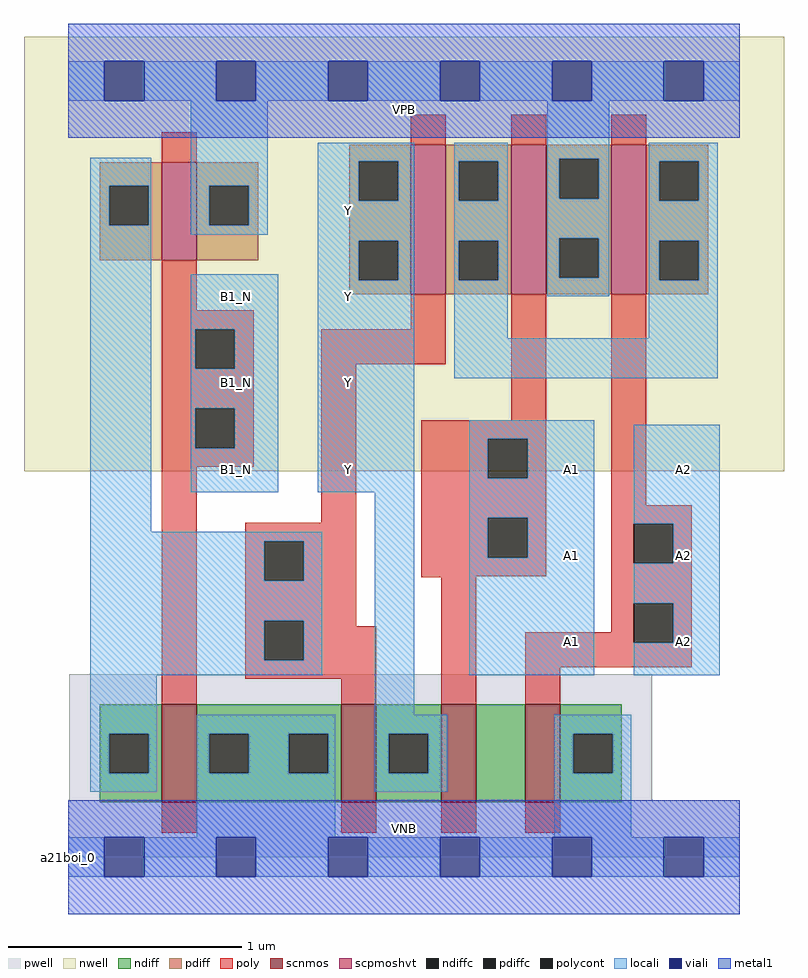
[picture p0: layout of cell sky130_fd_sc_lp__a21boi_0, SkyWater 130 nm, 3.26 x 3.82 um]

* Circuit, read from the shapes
.subckt sky130_fd_sc_lp__a21boi_0 A1 A2 B1_N VGND VNB VPB VPWR Y
XM1 VGND B1_N n1 VNB sky130_fd_pr__nfet_01v8 w=0.42 l=0.15
XM2 Y n1 VGND VNB sky130_fd_pr__nfet_01v8 w=0.42 l=0.15
XM3 n2 A1 Y VNB sky130_fd_pr__nfet_01v8 w=0.42 l=0.15
XM4 VGND A2 n2 VNB sky130_fd_pr__nfet_01v8 w=0.42 l=0.15
XM5 VPWR B1_N n1 VPB sky130_fd_pr__pfet_01v8_hvt w=0.42 l=0.15
XM6 n3 n1 Y VPB sky130_fd_pr__pfet_01v8_hvt w=0.64 l=0.15
XM7 VPWR A1 n3 VPB sky130_fd_pr__pfet_01v8_hvt w=0.64 l=0.15
XM8 n3 A2 VPWR VPB sky130_fd_pr__pfet_01v8_hvt w=0.64 l=0.15
.ends

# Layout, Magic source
magic
tech sky130A
magscale 1 2
<< nwell >>
rect -38 331 614 704
<< pwell >>
rect 1 49 501 157
rect 0 0 576 49
<< scnmos >>
rect 80 47 110 131
rect 234 47 264 131
rect 320 47 350 131
rect 392 47 422 131
<< scpmoshvt >>
rect 80 512 110 596
rect 294 483 324 611
rect 380 483 410 611
rect 466 483 496 611
<< ndiff >>
rect 27 106 80 131
rect 27 72 35 106
rect 69 72 80 106
rect 27 47 80 72
rect 110 106 234 131
rect 110 72 121 106
rect 155 72 189 106
rect 223 72 234 106
rect 110 47 234 72
rect 264 106 320 131
rect 264 72 275 106
rect 309 72 320 106
rect 264 47 320 72
rect 350 47 392 131
rect 422 106 475 131
rect 422 72 433 106
rect 467 72 475 106
rect 422 47 475 72
<< pdiff >>
rect 241 597 294 611
rect 27 576 80 596
rect 27 542 35 576
rect 69 542 80 576
rect 27 512 80 542
rect 110 576 163 596
rect 110 542 121 576
rect 155 542 163 576
rect 110 512 163 542
rect 241 563 249 597
rect 283 563 294 597
rect 241 529 294 563
rect 241 495 249 529
rect 283 495 294 529
rect 241 483 294 495
rect 324 597 380 611
rect 324 563 335 597
rect 369 563 380 597
rect 324 529 380 563
rect 324 495 335 529
rect 369 495 380 529
rect 324 483 380 495
rect 410 599 466 611
rect 410 565 421 599
rect 455 565 466 599
rect 410 531 466 565
rect 410 497 421 531
rect 455 497 466 531
rect 410 483 466 497
rect 496 597 549 611
rect 496 563 507 597
rect 541 563 549 597
rect 496 529 549 563
rect 496 495 507 529
rect 541 495 549 529
rect 496 483 549 495
<< ndiffc >>
rect 35 72 69 106
rect 121 72 155 106
rect 189 72 223 106
rect 275 72 309 106
rect 433 72 467 106
<< pdiffc >>
rect 35 542 69 576
rect 121 542 155 576
rect 249 563 283 597
rect 249 495 283 529
rect 335 563 369 597
rect 335 495 369 529
rect 421 565 455 599
rect 421 497 455 531
rect 507 563 541 597
rect 507 495 541 529
<< poly >>
rect 80 596 110 622
rect 294 611 324 637
rect 380 611 410 637
rect 466 611 496 637
rect 80 469 110 512
rect 80 453 159 469
rect 294 453 324 483
rect 80 419 109 453
rect 143 419 159 453
rect 80 385 159 419
rect 80 351 109 385
rect 143 351 159 385
rect 80 335 159 351
rect 217 423 324 453
rect 80 131 110 335
rect 217 287 247 423
rect 380 375 410 483
rect 152 271 247 287
rect 152 237 168 271
rect 202 237 247 271
rect 303 359 410 375
rect 303 325 360 359
rect 394 325 410 359
rect 303 291 410 325
rect 303 257 360 291
rect 394 257 410 291
rect 303 241 410 257
rect 466 302 496 483
rect 466 286 535 302
rect 466 252 485 286
rect 519 252 535 286
rect 303 240 350 241
rect 152 203 247 237
rect 152 169 168 203
rect 202 198 247 203
rect 202 169 264 198
rect 152 153 264 169
rect 234 131 264 153
rect 320 131 350 240
rect 466 218 535 252
rect 466 193 485 218
rect 392 184 485 193
rect 519 184 535 218
rect 392 163 535 184
rect 392 131 422 163
rect 80 21 110 47
rect 234 21 264 47
rect 320 21 350 47
rect 392 21 422 47
<< polycont >>
rect 109 419 143 453
rect 109 351 143 385
rect 168 237 202 271
rect 360 325 394 359
rect 360 257 394 291
rect 485 252 519 286
rect 168 169 202 203
rect 485 184 519 218
<< locali >>
rect 0 649 31 683
rect 65 649 127 683
rect 161 649 223 683
rect 257 649 319 683
rect 353 649 415 683
rect 449 649 511 683
rect 545 649 576 683
rect 19 576 71 600
rect 19 542 35 576
rect 69 542 71 576
rect 19 279 71 542
rect 105 576 171 649
rect 105 542 121 576
rect 155 542 171 576
rect 105 534 171 542
rect 214 597 297 613
rect 214 563 249 597
rect 283 563 297 597
rect 214 529 297 563
rect 105 453 180 500
rect 105 419 109 453
rect 143 419 180 453
rect 105 385 180 419
rect 105 351 109 385
rect 143 351 180 385
rect 105 313 180 351
rect 214 495 249 529
rect 283 495 297 529
rect 214 313 297 495
rect 331 597 377 613
rect 331 563 335 597
rect 369 563 377 597
rect 331 529 377 563
rect 331 495 335 529
rect 369 495 377 529
rect 331 445 377 495
rect 411 599 464 649
rect 411 565 421 599
rect 455 565 464 599
rect 411 531 464 565
rect 411 497 421 531
rect 455 497 464 531
rect 411 481 464 497
rect 498 597 557 613
rect 498 563 507 597
rect 541 563 557 597
rect 498 529 557 563
rect 498 495 507 529
rect 541 495 557 529
rect 498 445 557 495
rect 331 411 557 445
rect 19 271 218 279
rect 19 237 168 271
rect 202 237 218 271
rect 19 203 218 237
rect 19 169 168 203
rect 202 169 218 203
rect 19 156 218 169
rect 19 106 76 156
rect 263 122 297 313
rect 344 359 451 375
rect 344 325 360 359
rect 394 325 451 359
rect 344 291 451 325
rect 344 257 360 291
rect 394 257 451 291
rect 344 156 451 257
rect 485 286 559 371
rect 519 252 559 286
rect 485 218 559 252
rect 519 184 559 218
rect 485 156 559 184
rect 19 72 35 106
rect 69 72 76 106
rect 19 56 76 72
rect 110 106 229 122
rect 110 72 121 106
rect 155 72 189 106
rect 223 72 229 106
rect 110 17 229 72
rect 263 106 325 122
rect 263 72 275 106
rect 309 72 325 106
rect 263 56 325 72
rect 417 106 483 122
rect 417 72 433 106
rect 467 72 483 106
rect 417 17 483 72
rect 0 -17 31 17
rect 65 -17 127 17
rect 161 -17 223 17
rect 257 -17 319 17
rect 353 -17 415 17
rect 449 -17 511 17
rect 545 -17 576 17
<< viali >>
rect 31 649 65 683
rect 127 649 161 683
rect 223 649 257 683
rect 319 649 353 683
rect 415 649 449 683
rect 511 649 545 683
rect 31 -17 65 17
rect 127 -17 161 17
rect 223 -17 257 17
rect 319 -17 353 17
rect 415 -17 449 17
rect 511 -17 545 17
<< metal1 >>
rect 0 683 576 715
rect 0 649 31 683
rect 65 649 127 683
rect 161 649 223 683
rect 257 649 319 683
rect 353 649 415 683
rect 449 649 511 683
rect 545 649 576 683
rect 0 617 576 649
rect 0 17 576 49
rect 0 -17 31 17
rect 65 -17 127 17
rect 161 -17 223 17
rect 257 -17 319 17
rect 353 -17 415 17
rect 449 -17 511 17
rect 545 -17 576 17
rect 0 -49 576 -17
<< labels >>
flabel pwell s 0 0 576 49 0 FreeSans 200 0 0 0 VNB
port 5 nsew ground bidirectional
flabel nwell s 0 617 576 666 0 FreeSans 200 0 0 0 VPB
port 6 nsew power bidirectional
rlabel comment s 0 0 0 0 4 a21boi_0
flabel metal1 s 0 617 576 666 0 FreeSans 340 0 0 0 VPWR
port 7 nsew power bidirectional
flabel metal1 s 0 0 576 49 0 FreeSans 340 0 0 0 VGND
port 4 nsew ground bidirectional
flabel locali s 415 168 449 202 0 FreeSans 340 0 0 0 A1
port 1 nsew signal input
flabel locali s 415 242 449 276 0 FreeSans 340 0 0 0 A1
port 1 nsew signal input
flabel locali s 415 316 449 350 0 FreeSans 340 0 0 0 A1
port 1 nsew signal input
flabel locali s 223 538 257 572 0 FreeSans 340 0 0 0 Y
port 8 nsew signal output
flabel locali s 511 168 545 202 0 FreeSans 340 0 0 0 A2
port 2 nsew signal input
flabel locali s 511 242 545 276 0 FreeSans 340 0 0 0 A2
port 2 nsew signal input
flabel locali s 511 316 545 350 0 FreeSans 340 0 0 0 A2
port 2 nsew signal input
flabel locali s 127 316 161 350 0 FreeSans 340 0 0 0 B1_N
port 3 nsew signal input
flabel locali s 127 390 161 424 0 FreeSans 340 0 0 0 B1_N
port 3 nsew signal input
flabel locali s 127 464 161 498 0 FreeSans 340 0 0 0 B1_N
port 3 nsew signal input
flabel locali s 223 316 257 350 0 FreeSans 340 0 0 0 Y
port 8 nsew signal output
flabel locali s 223 390 257 424 0 FreeSans 340 0 0 0 Y
port 8 nsew signal output
flabel locali s 223 464 257 498 0 FreeSans 340 0 0 0 Y
port 8 nsew signal output
<< properties >>
string LEFsite unit
string LEFclass CORE
string FIXED_BBOX 0 0 576 666
string GDS_FILE $PDKPATH/libs.ref/sky130_fd_sc_lp/gds/sky130_fd_sc_lp.gds
string LEFsymmetry X Y R90
string GDS_END 5550184
string GDS_START 5543534
<< end >>
